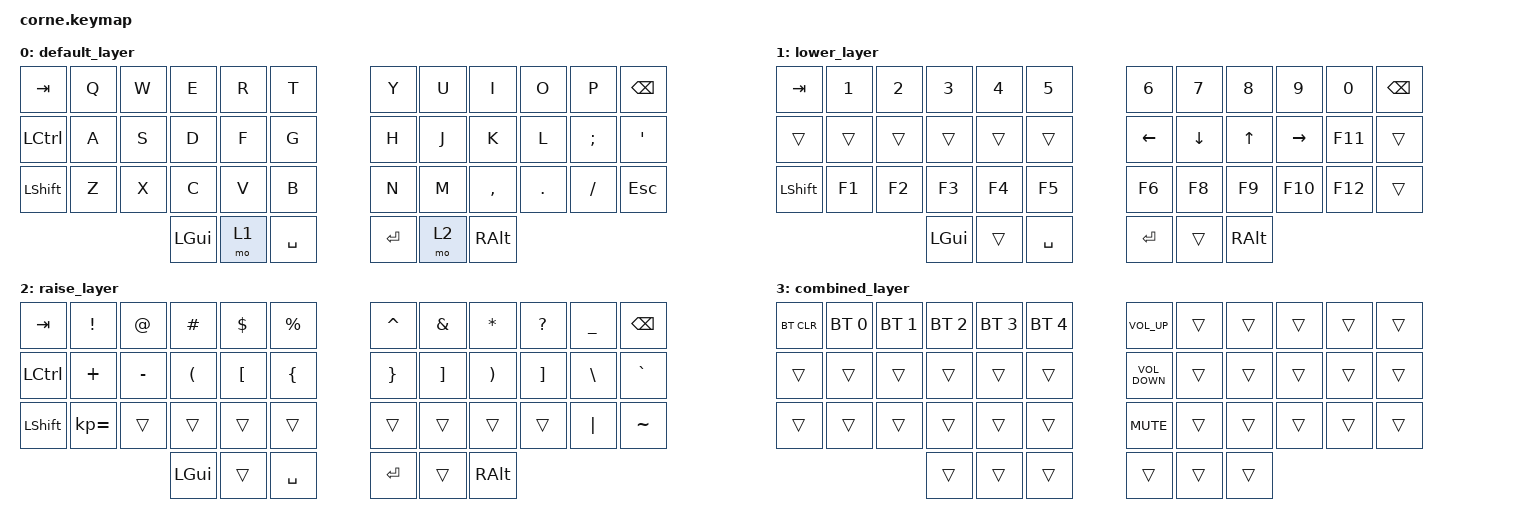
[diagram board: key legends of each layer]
/*
 * Copyright (c) 2020 The ZMK Contributors
 *
 * SPDX-License-Identifier: MIT
 */

#include <behaviors.dtsi>
#include <dt-bindings/zmk/bt.h>
#include <dt-bindings/zmk/keys.h>

/ {
    combos {
        compatible = "zmk,combos";

        shift_delete {
            bindings = <&kp LS(DELETE)>;
            key-positions = <11>;
        };
    };

    keymap {
        compatible = "zmk,keymap";

        default_layer {
            // -----------------------------------------------------------------------------------------
            // |  TAB |  Q  |  W  |  E  |  R  |  T  |   |  Y  |  U   |  I  |  O  |  P  | BSPC |
            // | CTRL |  A  |  S  |  D  |  F  |  G  |   |  H  |  J   |  K  |  L  |  ;  |  '   |
            // | SHFT |  Z  |  X  |  C  |  V  |  B  |   |  N  |  M   |  ,  |  .  |  /  | ESC  |
            //                    | GUI | LWR | SPC |   | ENT | RSE  | ALT |

            bindings = <
&kp TAB    &kp Q  &kp W  &kp E     &kp R  &kp T        &kp Y    &kp U  &kp I      &kp O    &kp P     &kp BSPC
&kp LCTRL  &kp A  &kp S  &kp D     &kp F  &kp G        &kp H    &kp J  &kp K      &kp L    &kp SEMI  &kp SQT
&kp LSHFT  &kp Z  &kp X  &kp C     &kp V  &kp B        &kp N    &kp M  &kp COMMA  &kp DOT  &kp FSLH  &kp ESC
                         &kp LGUI  &mo 1  &kp SPACE    &kp RET  &mo 2  &kp RALT
            >;
        };

        lower_layer {
            // -----------------------------------------------------------------------------------------
            // |  TAB |  1  |  2  |  3  |  4  |  5  |   |  6  |  7  |  8  |  9  |  0  | BSPC |
            // | BTCLR| BT1 | BT2 | BT3 | BT4 | BT5 |   | LFT | DWN |  UP | RGT |     |      |
            // | SHFT |     |     |     |     |     |   |     |     |     |     |     |      |
            //                    | GUI |     | SPC |   | ENT |     | ALT |

            bindings = <
&kp TAB    &kp N1  &kp N2  &kp N3    &kp N4  &kp N5       &kp N6    &kp N7    &kp N8    &kp N9     &kp N0   &kp BSPC
&trans     &trans  &trans  &trans    &trans  &trans       &kp LEFT  &kp DOWN  &kp UP    &kp RIGHT  &kp F11  &trans
&kp LSHFT  &kp F1  &kp F2  &kp F3    &kp F4  &kp F5       &kp F6    &kp F8    &kp F9    &kp F10    &kp F12  &trans
                           &kp LGUI  &trans  &kp SPACE    &kp RET   &trans    &kp RALT
            >;
        };

        raise_layer {
            // -----------------------------------------------------------------------------------------
            // |  TAB |  !  |  @  |  #  |  $  |  %  |   |  ^  |  &  |  *  |  (  |  )  | BSPC |
            // | CTRL |     |     |     |     |     |   |  -  |  =  |  [  |  ]  |  \  |  `   |
            // | SHFT |     |     |     |     |     |   |  _  |  +  |  {  |  }  | "|" |  ~   |
            //                    | GUI |     | SPC |   | ENT |     | ALT |

            bindings = <
&kp TAB    &kp EXCL      &kp AT     &kp HASH              &kp DLLR          &kp PRCNT         &kp CARET        &kp AMPS           &kp ASTRK              &kp QUESTION  &kp UNDERSCORE  &kp BSPC
&kp LCTRL  &kp PLUS      &kp MINUS  &kp LEFT_PARENTHESIS  &kp LEFT_BRACKET  &kp LEFT_BRACE    &kp RIGHT_BRACE  &kp RIGHT_BRACKET  &kp RIGHT_PARENTHESIS  &kp RBKT      &kp BSLH        &kp GRAVE
&kp LSHFT  &kp KP_EQUAL  &trans     &trans                &trans            &trans            &trans           &trans             &trans                 &trans        &kp PIPE        &kp TILDE
                                    &kp LGUI              &trans            &kp SPACE         &kp RET          &trans             &kp RALT
            >;
        };

        combined_layer {
            bindings = <
&bt BT_CLR  &bt BT_SEL 0  &bt BT_SEL 1  &bt BT_SEL 2  &bt BT_SEL 3  &bt BT_SEL 4    &kp C_VOLUME_UP    &trans  &trans  &trans  &trans  &trans
&trans      &trans        &trans        &trans        &trans        &trans          &kp C_VOLUME_DOWN  &trans  &trans  &trans  &trans  &trans
&trans      &trans        &trans        &trans        &trans        &trans          &kp K_MUTE         &trans  &trans  &trans  &trans  &trans
                                        &trans        &trans        &trans          &trans             &trans  &trans
            >;
        };
    };

    conditional_layers {
        compatible = "zmk,conditional-layers";

        bothPressed {
            if-layers = <1 2>;
            then-layer = <3>;
        };
    };
};
